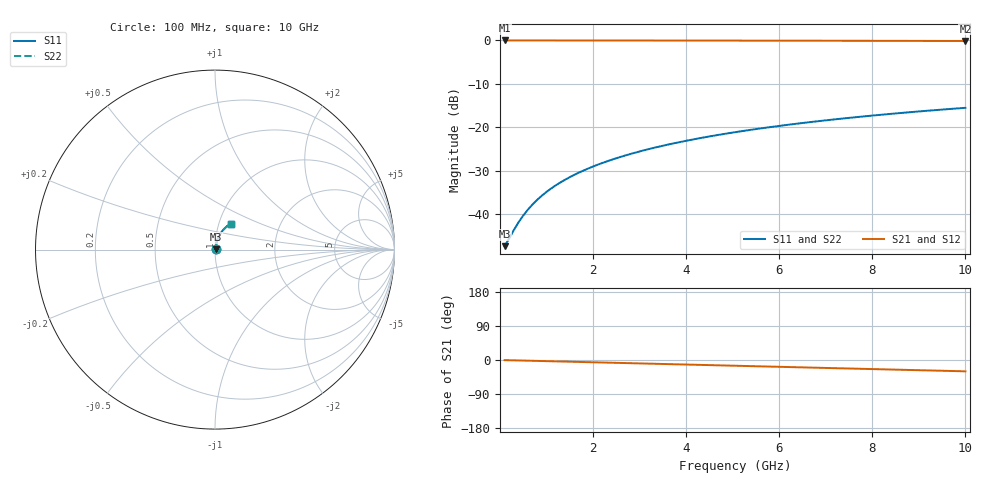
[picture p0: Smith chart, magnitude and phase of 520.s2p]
# Hz S RI R 50.00
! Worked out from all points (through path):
!   100 points, 100 MHz to 10 GHz, reference 50 ohm
!   highest |S21| = -0.03 dB at 100 MHz (marker M1); lowest = -0.2 dB at 10 GHz (marker M2)
!   group delay of S21, straight-line fit = 8.31 ps
!   lowest |S11| = -47.4 dB at 100 MHz (marker M3), VSWR 1.01, Z = 50.4 + j0.175 ohm
!   |S11| at or under -10 dB: start of sweep to end of sweep
!   |S22| runs from -47.4 to -15.5 dB; largest |S21 - S12| = 0
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1e8  0.00391 0.00174  0.9961 -0.00521  0.9961 -0.00521  0.00391 0.00174
2e8  0.00396 0.00347  0.996 -0.0104  0.996 -0.0104  0.00396 0.00347
3e8  0.00402 0.00521  0.9959 -0.0156  0.9959 -0.0156  0.00402 0.00521
4e8  0.0041 0.00694  0.9958 -0.0208  0.9958 -0.0208  0.0041 0.00694
5e8  0.00419 0.00867  0.9956 -0.0261  0.9956 -0.0261  0.00419 0.00867
6e8  0.0043 0.0104  0.9955 -0.0313  0.9955 -0.0313  0.0043 0.0104
7e8  0.00443 0.0121  0.9952 -0.0365  0.9952 -0.0365  0.00443 0.0121
8e8  0.00458 0.0139  0.995 -0.0417  0.995 -0.0417  0.00458 0.0139
1e9  0.00492 0.0173  0.9944 -0.0521  0.9944 -0.0521  0.00492 0.0173
1.2e9  0.00533 0.0208  0.9938 -0.0625  0.9938 -0.0625  0.00533 0.0208
1.5e9  0.00608 0.0259  0.9925 -0.0781  0.9925 -0.0781  0.00608 0.0259
1.8e9  0.00699 0.031  0.991 -0.0936  0.991 -0.0936  0.00699 0.031
2.1e9  0.00806 0.0361  0.9892 -0.1091  0.9892 -0.1091  0.00806 0.0361
2.5e9  0.00973 0.0428  0.9864 -0.1298  0.9864 -0.1298  0.00973 0.0428
2.9e9  0.0117 0.0495  0.9831 -0.1503  0.9831 -0.1503  0.0117 0.0495
3.4e9  0.0145 0.0577  0.9784 -0.1759  0.9784 -0.1759  0.0145 0.0577
4.2e9  0.0199 0.0704  0.9692 -0.2165  0.9692 -0.2165  0.0199 0.0704
5.1e9  0.0272 0.0841  0.9567 -0.2615  0.9567 -0.2615  0.0272 0.0841
5.9e9  0.0348 0.0957  0.9437 -0.3008  0.9437 -0.3008  0.0348 0.0957
6.7e9  0.0433 0.1066  0.929 -0.3394  0.929 -0.3394  0.0433 0.1066
8.4e9  0.0641 0.1272  0.8921 -0.4186  0.8921 -0.4186  0.0641 0.1272
1e10  0.0867 0.1429  0.851 -0.4891  0.851 -0.4891  0.0867 0.1429
